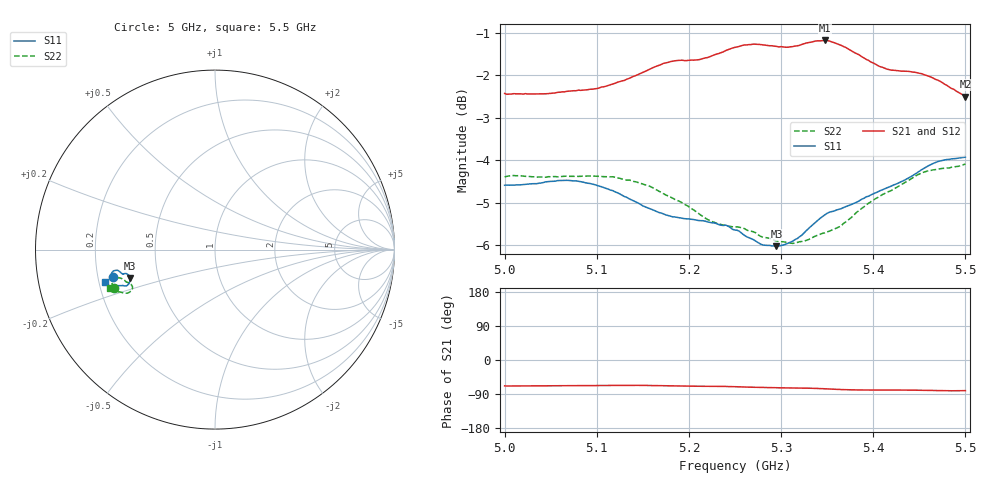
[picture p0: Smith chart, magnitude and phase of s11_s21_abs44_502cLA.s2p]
! MS46122B
! 1919307/90821646
! 5/20/2022 12:04:11 PM
! C:\USERS\PC_\DESKTOP\CARACTERIZACION\MEDICIONES\BANCHA ESTRECHA\S11_S21_ABS44_502CL.S2P
! CHANNEL.1
! TR.MEASUREMENT
! CORRECTED.DATA
# GHZ S RI R 50.0
! FREQ.GHZ  S11RE  S11IM  S21RE  S21IM  S12RE  S12IM  S22RE  S22IM
!; PortSelection: Port_12
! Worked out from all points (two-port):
!   201 points, 5 GHz to 5.5 GHz, reference 50 ohm
!   highest |S21| = -1.19 dB at 5.348 GHz (marker M1); lowest = -2.5 dB at 5.5 GHz (marker M2)
!   |S21| within 3 dB of the highest: start of sweep to end of sweep
!   lowest |S11| = -6.0 dB at 5.295 GHz (marker M3), VSWR 3.00, Z = 17.1 - j7.2 ohm
!   |S11| at or under -10 dB: nowhere
!   |S22| runs from -6.0 to -4.1 dB; largest |S21 - S12| = 0.021
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5  -0.5696 -0.1512  0.2793 -0.7021  0.2623 -0.6987  -0.5636 -0.2137
5.0425  -0.5723 -0.1585  0.282 -0.7004  0.2828 -0.6897  -0.5682 -0.1994
5.085  -0.5779 -0.1389  0.291 -0.705  0.3016 -0.696  -0.5759 -0.1825
5.13  -0.5594 -0.1173  0.3079 -0.7198  0.316 -0.7127  -0.5761 -0.1622
5.1675  -0.5339 -0.1204  0.3099 -0.7545  0.3195 -0.7399  -0.5579 -0.1579
5.1875  -0.5245 -0.1288  0.3011 -0.7695  0.3157 -0.7549  -0.543 -0.1581
5.2075  -0.5196 -0.1328  0.2935 -0.7736  0.3075 -0.7673  -0.5254 -0.159
5.2325  -0.512 -0.1357  0.2947 -0.7889  0.3055 -0.7878  -0.5015 -0.1734
5.25  -0.5046 -0.1335  0.2869 -0.8068  0.2933 -0.8085  -0.4946 -0.1799
5.2725  -0.4875 -0.1373  0.2637 -0.8224  0.2668 -0.8247  -0.4841 -0.1845
5.295  -0.4739 -0.1582  0.2474 -0.8221  0.2479 -0.8213  -0.4683 -0.1935
5.3175  -0.4759 -0.1835  0.2389 -0.826  0.2433 -0.823  -0.4603 -0.207
5.335  -0.4908 -0.2007  0.2293 -0.839  0.2388 -0.8372  -0.4617 -0.2216
5.3475  -0.5048 -0.2024  0.2118 -0.8463  0.2264 -0.8491  -0.4657 -0.2268
5.36  -0.5137 -0.1995  0.1891 -0.8443  0.2024 -0.8558  -0.4706 -0.2321
5.3725  -0.5199 -0.2008  0.17 -0.836  0.1772 -0.8513  -0.4796 -0.2395
5.3925  -0.5348 -0.2008  0.155 -0.814  0.151 -0.8277  -0.5035 -0.2429
5.4175  -0.5514 -0.2004  0.1497 -0.792  0.1424 -0.7918  -0.5294 -0.2364
5.44  -0.5661 -0.2059  0.1468 -0.7883  0.1476 -0.78  -0.5512 -0.2336
5.455  -0.5812 -0.2067  0.1363 -0.7836  0.1413 -0.7772  -0.5668 -0.2273
5.4775  -0.5996 -0.1965  0.1182 -0.7658  0.1221 -0.7615  -0.578 -0.2158
5.5  -0.6106 -0.1779  0.1194 -0.7399  0.1204 -0.7361  -0.5866 -0.2133
